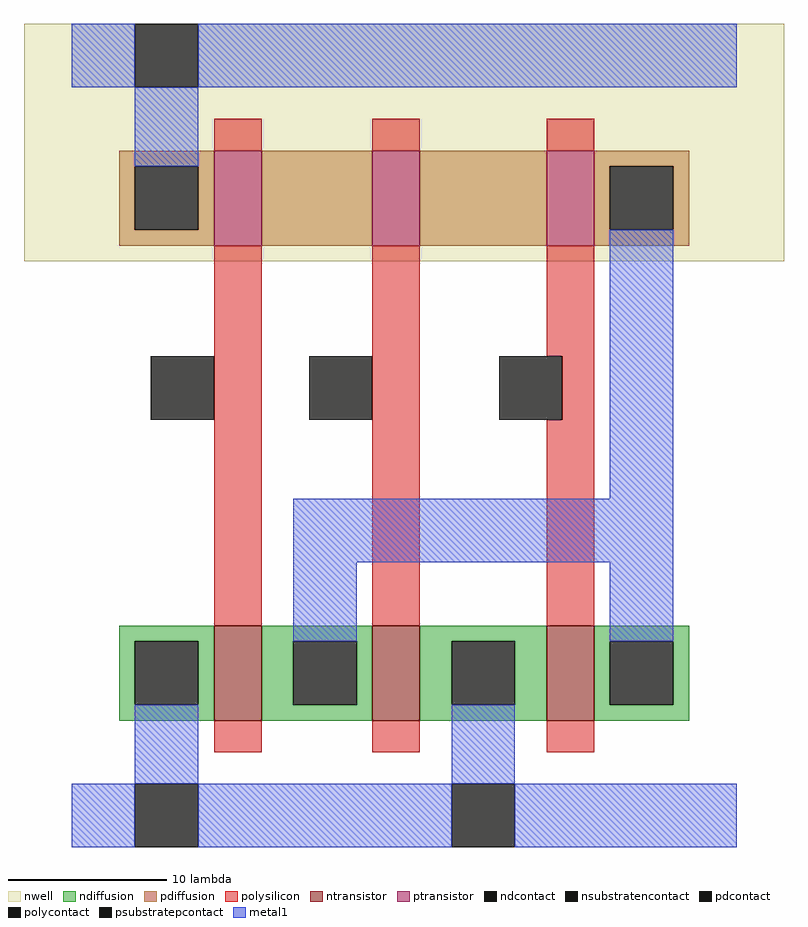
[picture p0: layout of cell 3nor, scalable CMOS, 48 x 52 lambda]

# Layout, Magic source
magic
tech scmos
<< nwell >>
rect -16 -3 32 12
<< polysilicon >>
rect -4 4 -1 6
rect 6 4 9 6
rect 17 4 20 6
rect -4 -26 -1 -2
rect 6 -26 9 -2
rect 17 -9 20 -2
rect 18 -13 20 -9
rect 17 -26 20 -13
rect -4 -34 -1 -32
rect 6 -34 9 -32
rect 17 -34 20 -32
<< ndiffusion >>
rect -10 -27 -4 -26
rect -10 -31 -9 -27
rect -5 -31 -4 -27
rect -10 -32 -4 -31
rect -1 -27 6 -26
rect -1 -31 1 -27
rect 5 -31 6 -27
rect -1 -32 6 -31
rect 9 -27 17 -26
rect 9 -31 11 -27
rect 15 -31 17 -27
rect 9 -32 17 -31
rect 20 -27 26 -26
rect 20 -31 21 -27
rect 25 -31 26 -27
rect 20 -32 26 -31
<< pdiffusion >>
rect -10 3 -4 4
rect -10 -1 -9 3
rect -5 -1 -4 3
rect -10 -2 -4 -1
rect -1 -2 6 4
rect 9 -2 17 4
rect 20 3 26 4
rect 20 -1 21 3
rect 25 -1 26 3
rect 20 -2 26 -1
<< metal1 >>
rect -13 8 -9 12
rect -5 8 29 12
rect -9 3 -5 8
rect 21 -18 25 -1
rect 1 -22 25 -18
rect 1 -27 5 -22
rect 21 -27 25 -22
rect -9 -36 -5 -31
rect 11 -36 15 -31
rect -13 -40 -9 -36
rect -5 -40 11 -36
rect 15 -40 29 -36
<< ntransistor >>
rect -4 -32 -1 -26
rect 6 -32 9 -26
rect 17 -32 20 -26
<< ptransistor >>
rect -4 -2 -1 4
rect 6 -2 9 4
rect 17 -2 20 4
<< polycontact >>
rect -8 -13 -4 -9
rect 2 -13 6 -9
rect 14 -13 18 -9
<< ndcontact >>
rect -9 -31 -5 -27
rect 1 -31 5 -27
rect 11 -31 15 -27
rect 21 -31 25 -27
<< pdcontact >>
rect -9 -1 -5 3
rect 21 -1 25 3
<< psubstratepcontact >>
rect -9 -40 -5 -36
rect 11 -40 15 -36
<< nsubstratencontact >>
rect -9 8 -5 12
<< end >>
